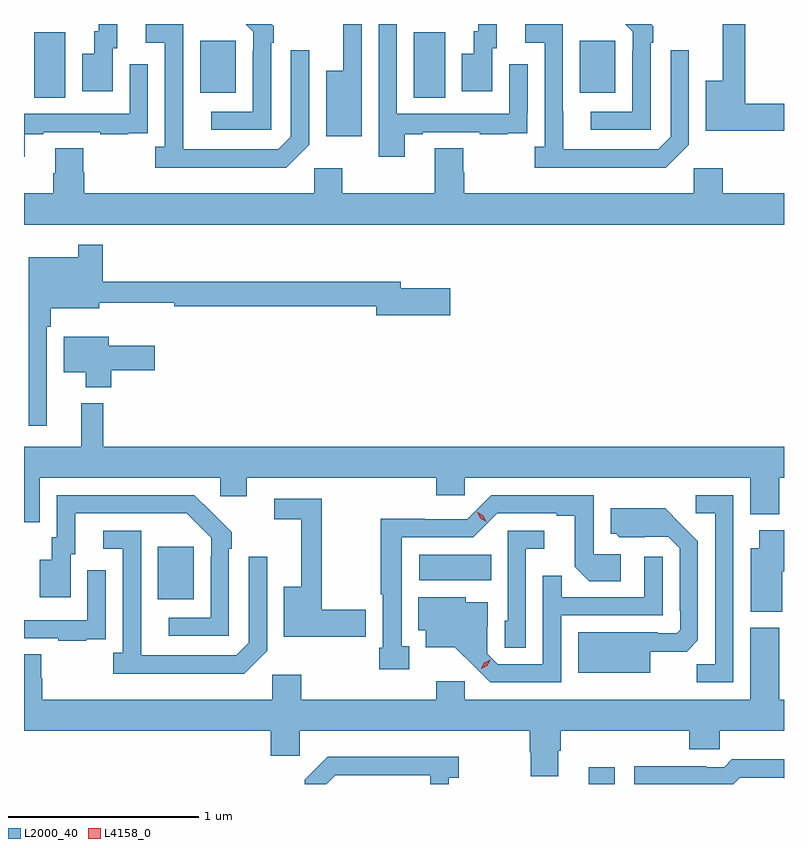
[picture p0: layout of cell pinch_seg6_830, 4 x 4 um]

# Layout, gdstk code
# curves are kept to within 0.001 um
import gdstk
lib = gdstk.Library(unit=1e-6, precision=1e-09)
def R(c, l, rs):  # rectangles x0, y0, x1, y1
    for r in rs: c.add(gdstk.rectangle(r[:2], r[2:], *l))
def P(c, l, *ps):  # polygons
    for p in ps: c.add(gdstk.Polygon(p, *l))
L2000_40 = (2000, 40)
L4158_0 = (4158, 0)

pinch_seg6_830 = lib.new_cell('pinch_seg6_830')
R(pinch_seg6_830, L2000_40, [(138.935,980.356,139.071,980.443), (136.667,981.329,136.855,981.604), (138.042,981.428,138.422,981.562), (136.016,983.968,136.18,984.312), (138.014,983.968,138.178,984.312), (136.889,983.993,137.077,984.268), (138.887,983.993,139.075,984.268)])
P(pinch_seg6_830, L2000_40, [(137.262,984.257),(137.277,984.257),(137.277,984.345),(137.266,984.356),(137.128,984.356),(137.169,984.315),(137.169,984.215),(137.166,984.215),(137.166,983.895),(136.947,983.895),(136.947,983.799),(137.262,983.799)],
  [(139.962,983.936),(139.757,983.936),(139.757,984.356),(139.64,984.356),(139.64,984.058),(139.55,984.058),(139.55,983.794),(139.962,983.794)],
  [(137.74,984.005),(137.739,984.005),(137.739,984.356),(137.642,984.356),(137.642,984.109),(137.552,984.109),(137.552,983.765),(137.74,983.765)],
  [(138.427,984.228),(138.451,984.228),(138.451,984.356),(138.354,984.356),(138.354,984.318),(138.329,984.318),(138.329,984.199),(138.266,984.199),(138.266,984.003),(138.427,984.003)],
  [(139.26,984.257),(139.275,984.257),(139.275,984.345),(139.264,984.356),(139.126,984.356),(139.167,984.315),(139.167,984.215),(139.164,984.215),(139.164,983.895),(138.945,983.895),(138.945,983.799),(139.26,983.799)],
  [(137.965,983.775),(138.061,983.775),(138.061,983.787),(138.361,983.787),(138.361,983.775),(138.509,983.775),(138.509,983.781),(138.611,983.781),(138.611,983.89),(138.612,983.89),(138.612,984.145),(138.516,984.145),(138.516,983.883),(137.925,983.883),(137.925,984.356),(137.829,984.356),(137.829,983.658),(137.965,983.658)],
  [(136.429,984.228),(136.453,984.228),(136.453,984.356),(136.356,984.356),(136.356,984.318),(136.331,984.318),(136.331,984.199),(136.268,984.199),(136.268,984.003),(136.429,984.003)],
  [(137.463,983.721),(137.463,984.217),(137.367,984.217),(137.367,983.763),(137.301,983.697),(136.801,983.697),(136.8,984.354),(136.602,984.354),(136.602,984.258),(136.704,984.258),(136.704,983.71),(136.653,983.71),(136.653,983.6),(137.342,983.6)],
  [(139.461,983.721),(139.461,984.217),(139.365,984.217),(139.365,983.763),(139.299,983.697),(138.799,983.697),(138.798,984.354),(138.6,984.354),(138.6,984.258),(138.702,984.258),(138.702,983.71),(138.651,983.71),(138.651,983.6),(139.34,983.6)],
  [(135.967,983.775),(136.063,983.775),(136.063,983.787),(136.363,983.787),(136.363,983.775),(136.511,983.775),(136.511,983.781),(136.613,983.781),(136.613,983.89),(136.614,983.89),(136.614,984.145),(136.518,984.145),(136.518,983.883),(135.962,983.883),(135.962,983.658),(135.967,983.658)],
  [(139.962,983.464),(139.64,983.464),(139.64,983.596),(139.488,983.596),(139.488,983.464),(138.278,983.464),(138.278,983.577),(138.273,983.577),(138.273,983.702),(138.125,983.702),(138.125,983.464),(137.637,983.464),(137.637,983.596),(137.49,983.596),(137.49,983.464),(136.28,983.464),(136.28,983.577),(136.275,983.577),(136.275,983.702),(136.127,983.702),(136.127,983.57),(136.115,983.57),(136.115,983.464),(135.962,983.464),(135.962,983.3),(139.962,983.3)],
  [(136.083,982.763),(136.103,982.763),(136.103,982.859),(136.357,982.859),(136.357,982.888),(136.753,982.888),(136.753,982.87),(137.816,982.87),(137.816,982.823),(138.205,982.823),(138.205,982.965),(137.944,982.965),(137.944,982.999),(136.376,982.999),(136.376,983.194),(136.248,983.194),(136.248,983.128),(135.986,983.128),(135.986,982.242),(136.083,982.242)],
  [(136.421,982.534),(136.651,982.534),(136.651,982.663),(136.408,982.663),(136.408,982.711),(136.172,982.711),(136.172,982.523),(136.286,982.523),(136.286,982.445),(136.421,982.445)],
  [(136.045,981.968),(136.995,981.968),(136.995,981.87),(137.134,981.87),(137.134,981.968),(138.131,981.968),(138.131,981.875),(138.282,981.875),(138.282,981.968),(139.784,981.968),(139.784,981.776),(139.937,981.776),(139.937,981.968),(139.962,981.968),(139.962,982.132),(136.379,982.132),(136.379,982.36),(136.262,982.36),(136.262,982.132),(135.962,982.132),(135.962,981.733),(136.045,981.733)],
  [(137.989,981.081),(137.95,981.081),(137.95,981.654),(138.327,981.654),(138.453,981.78),(138.767,981.78),(138.767,981.768),(138.861,981.768),(138.861,981.5),(138.937,981.424),(139.102,981.424),(139.102,981.564),(138.96,981.564),(138.96,981.876),(138.42,981.876),(138.294,981.75),(138.072,981.75),(138.072,981.752),(137.839,981.752),(137.839,981.355),(137.849,981.355),(137.849,981.073),(137.832,981.073),(137.832,980.961),(137.989,980.961)],
  [(139.695,981.876),(139.497,981.876),(139.497,981.78),(139.599,981.78),(139.599,980.987),(139.504,980.987),(139.504,980.892),(139.695,980.892)],
  [(137.04,981.593),(137.055,981.593),(137.055,981.681),(136.858,981.876),(136.134,981.876),(136.134,981.654),(136.109,981.654),(136.109,981.535),(136.046,981.535),(136.046,981.339),(136.207,981.339),(136.207,981.564),(136.231,981.564),(136.231,981.78),(136.819,981.78),(136.947,981.651),(136.947,981.551),(136.944,981.551),(136.944,981.231),(136.725,981.231),(136.725,981.135),(137.04,981.135)],
  [(137.761,981.272),(137.53,981.272),(137.53,981.858),(137.28,981.858),(137.28,981.75),(137.42,981.75),(137.42,981.394),(137.33,981.394),(137.33,981.13),(137.761,981.13)],
  [(139.258,981.053),(139.45,981.053),(139.509,981.112),(139.509,981.634),(139.337,981.808),(139.049,981.808),(139.049,981.672),(139.08,981.672),(139.096,981.656),(139.353,981.657),(139.413,981.597),(139.413,981.268),(139.416,981.268),(139.416,981.168),(139.398,981.15),(139.298,981.15),(139.298,981.154),(138.878,981.154),(138.878,980.942),(139.258,980.942)],
  [(139.954,981.477),(139.962,981.477),(139.962,981.691),(139.832,981.691),(139.832,981.598),(139.787,981.598),(139.787,981.263),(139.954,981.263)],
  [(138.603,981.593),(138.7,981.593),(138.7,981.69),(138.507,981.69),(138.507,981.216),(138.492,981.216),(138.492,981.073),(138.603,981.073)],
  [(137.241,981.057),(137.241,981.553),(137.145,981.553),(137.145,981.099),(137.079,981.033),(136.579,981.033),(136.578,981.69),(136.38,981.69),(136.38,981.594),(136.482,981.594),(136.482,981.046),(136.431,981.046),(136.431,980.936),(137.12,980.936)],
  [(138.789,981.243),(139.323,981.243),(139.323,981.553),(139.227,981.553),(139.227,981.339),(138.791,981.339),(138.791,981.452),(138.693,981.452),(138.693,980.985),(138.456,980.985),(138.399,981.042),(138.399,981.184),(138.403,981.184),(138.403,981.313),(138.288,981.313),(138.288,981.34),(138.038,981.34),(138.038,981.164),(138.077,981.164),(138.077,981.077),(138.229,981.077),(138.416,980.892),(138.789,980.892)],
  [(136.289,981.117),(136.391,981.117),(136.391,981.226),(136.392,981.226),(136.392,981.481),(136.296,981.481),(136.296,981.219),(135.962,981.219),(135.962,981.123),(136.141,981.123),(136.141,981.111),(136.289,981.111)],
  [(138.775,980.53),(138.788,980.53),(138.788,980.636),(139.463,980.636),(139.463,980.538),(139.623,980.538),(139.623,980.636),(139.962,980.636),(139.962,980.8),(139.937,980.8),(139.937,981.178),(139.784,981.178),(139.784,980.8),(138.282,980.8),(138.282,980.896),(138.131,980.896),(138.131,980.8),(137.42,980.8),(137.42,980.932),(137.268,980.932),(137.268,980.8),(136.058,980.8),(136.058,980.913),(136.053,980.913),(136.053,981.038),(135.962,981.038),(135.962,980.636),(137.261,980.636),(137.261,980.505),(137.412,980.505),(137.412,980.636),(138.623,980.636),(138.623,980.523),(138.628,980.523),(138.628,980.398),(138.775,980.398)],
  [(137.601,980.403),(138.101,980.403),(138.101,980.356),(138.198,980.356),(138.198,980.39),(138.25,980.39),(138.25,980.5),(137.56,980.5),(137.439,980.379),(137.439,980.356),(137.554,980.356)],
  [(139.728,980.388),(139.959,980.388),(139.962,980.385),(139.962,980.485),(139.687,980.485),(139.647,980.445),(139.553,980.445),(139.553,980.45),(139.173,980.45),(139.173,980.356),(139.696,980.356)])
P(pinch_seg6_830, L4158_0, [(138.368,980.963),(138.368,980.964),(138.385,980.993),(138.416,981.009),(138.416,981.009),(138.416,981.008),(138.399,980.979),(138.368,980.963)],
  [(138.395,981.736),(138.364,981.756),(138.347,981.788),(138.347,981.789),(138.348,981.789),(138.379,981.769),(138.396,981.737),(138.396,981.736)])

lib.write_gds('pinch_seg6_830.gds')
